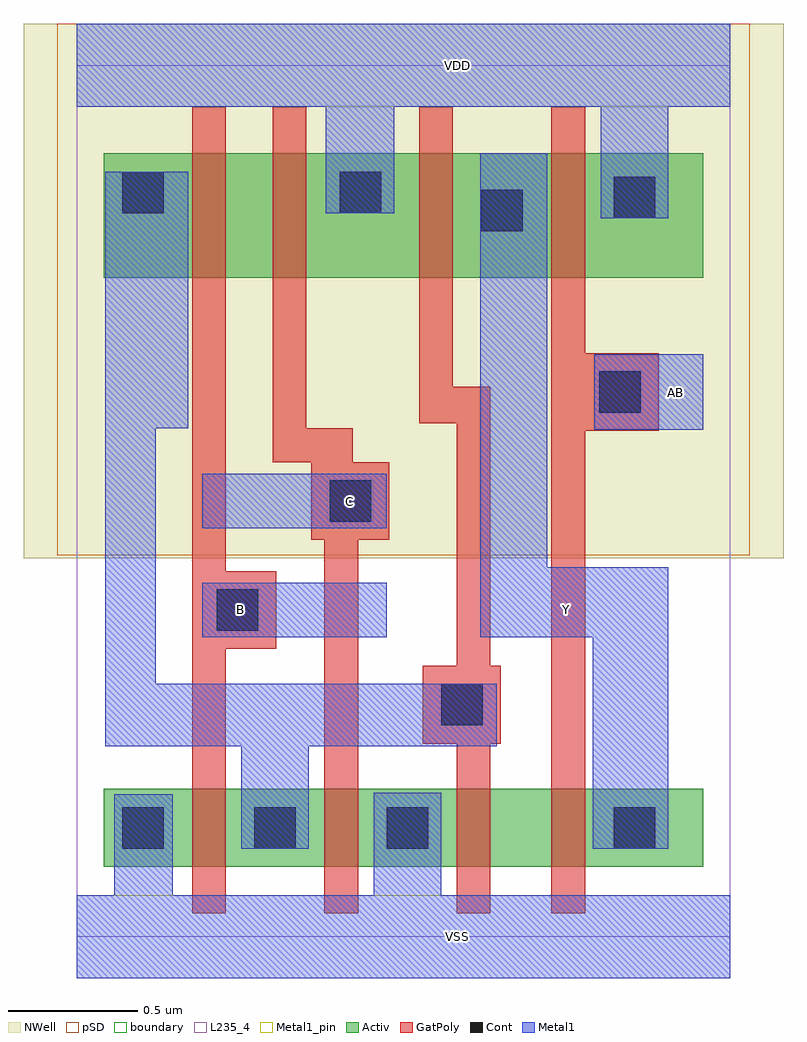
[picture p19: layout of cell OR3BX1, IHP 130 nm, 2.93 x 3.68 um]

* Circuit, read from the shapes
.subckt OR3BX1 AB B C VDD VSS Y
XM1 n1 B VSS VSUBS sg13_lv_nmos w=0.3u l=0.13u
XM2 VSS C n1 VSUBS sg13_lv_nmos w=0.3u l=0.13u
XM3 n2 n1 VSS VSUBS sg13_lv_nmos w=0.3u l=0.13u
XM4 Y AB n2 VSUBS sg13_lv_nmos w=0.3u l=0.13u
XM5 n3 B n1 n4 sg13_lv_pmos w=0.48u l=0.13u
XM6 VDD C n3 n4 sg13_lv_pmos w=0.48u l=0.13u
XM7 Y n1 VDD n4 sg13_lv_pmos w=0.48u l=0.13u
XM8 VDD AB Y n4 sg13_lv_pmos w=0.48u l=0.13u
.ends

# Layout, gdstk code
import gdstk
lib = gdstk.Library(unit=1e-6, precision=1e-09)
def R(c, l, rs):  # rectangles x0, y0, x1, y1
    for r in rs: c.add(gdstk.rectangle(r[:2], r[2:], *l))
def A(c, l, x, y, w, h, nx, ny, dx, dy):  # array of equal rectangles
    R(c, l, [(x+i*dx, y+j*dy, x+i*dx+w, y+j*dy+h) for i in range(nx) for j in range(ny)])
def P(c, l, *ps):  # polygons
    for p in ps: c.add(gdstk.Polygon(p, *l))
Activ = (1, 0)
GatPoly = (5, 0)
Cont = (6, 0)
Metal1 = (8, 0)
Metal1_pin = (8, 2)
pSD = (14, 0)
NWell = (31, 0)
boundary = (189, 4)
L235_4 = (235, 4)

or3bx1 = lib.new_cell('OR3BX1')
R(or3bx1, Activ, [(0.105,0.27,2.415,0.57), (0.105,2.54,2.415,3.02)])
P(or3bx1, GatPoly, [(1.83,0.09),(1.83,3.2),(1.96,3.2),(1.96,2.25),(2.245,2.25),(2.245,1.95),(1.96,1.95),(1.96,0.09)],
  [(1.465,0.09),(1.465,0.745),(1.335,0.745),(1.335,1.045),(1.465,1.045),(1.465,1.98),(1.32,1.98),(1.32,3.2),(1.45,3.2),(1.45,2.12),(1.595,2.12),(1.595,1.045),(1.635,1.045),(1.635,0.745),(1.595,0.745),(1.595,0.09)],
  [(0.955,0.09),(0.955,1.53),(0.905,1.53),(0.905,1.83),(0.755,1.83),(0.755,3.2),(0.885,3.2),(0.885,1.96),(1.065,1.96),(1.065,1.83),(1.205,1.83),(1.205,1.53),(1.085,1.53),(1.085,0.09)],
  [(0.445,0.09),(0.445,3.2),(0.575,3.2),(0.575,1.41),(0.77,1.41),(0.77,1.11),(0.575,1.11),(0.575,0.09)])
A(or3bx1, Cont, 0.175, 0.34, 0.16, 0.16, 3, 1, 0.51, 0)
R(or3bx1, Cont, [(2.07,0.34,2.23,0.5), (1.405,0.815,1.565,0.975), (0.54,1.18,0.7,1.34), (0.975,1.6,1.135,1.76), (2.015,2.02,2.175,2.18), (1.56,2.72,1.72,2.88), (2.07,2.77,2.23,2.93), (0.175,2.79,0.335,2.95), (1.015,2.79,1.175,2.95)])
R(or3bx1, Metal1, [(0.485,1.155,1.195,1.365), (0.485,1.575,1.195,1.785), (1.995,1.955,2.415,2.245)])
P(or3bx1, Metal1, [(0,-0.16),(0,0.16),(0.145,0.16),(0.145,0.55),(0.37,0.55),(0.37,0.16),(1.145,0.16),(1.145,0.555),(1.405,0.555),(1.405,0.16),(2.52,0.16),(2.52,-0.16)],
  [(2.02,2.77),(2.02,3.2),(1.225,3.2),(1.225,2.79),(0.96,2.79),(0.96,3.2),(0,3.2),(0,3.52),(2.52,3.52),(2.52,3.2),(2.28,3.2),(2.28,2.77)],
  [(1.99,0.34),(1.99,1.155),(1.555,1.155),(1.555,3.02),(1.815,3.02),(1.815,1.425),(2.28,1.425),(2.28,0.34)],
  [(0.635,0.34),(0.635,0.735),(0.11,0.735),(0.11,2.95),(0.43,2.95),(0.43,1.96),(0.305,1.96),(0.305,0.975),(1.62,0.975),(1.62,0.735),(0.895,0.735),(0.895,0.34)])
R(or3bx1, Metal1_pin, [(0,-0.16,2.52,0.16), (0.485,1.155,1.195,1.365), (0.485,1.575,1.195,1.785), (1.995,1.955,2.415,2.245), (0,3.2,2.52,3.52)])
P(or3bx1, Metal1_pin, [(1.99,0.34),(1.99,1.155),(1.555,1.155),(1.555,3.02),(1.815,3.02),(1.815,1.425),(2.28,1.425),(2.28,0.34)])
R(or3bx1, pSD, [(-0.075,1.47,2.595,3.52)])
R(or3bx1, NWell, [(-0.205,1.46,2.725,3.52)])
R(or3bx1, boundary, [(0,0,2.52,3.36)])
R(or3bx1, L235_4, [(0,0,2.52,3.36)])
or3bx1.add(gdstk.Label('VDD', (1.47,3.36), layer=8, texttype=25))
or3bx1.add(gdstk.Label('C', (1.05,1.68), layer=8, texttype=25))
or3bx1.add(gdstk.Label('Y', (1.89,1.26), layer=8, texttype=25))
or3bx1.add(gdstk.Label('B', (0.63,1.26), layer=8, texttype=25))
or3bx1.add(gdstk.Label('VSS', (1.47,0), layer=8, texttype=25))
or3bx1.add(gdstk.Label('AB', (2.31,2.1), layer=8, texttype=25))

lib.write_gds('OR3BX1.gds')
